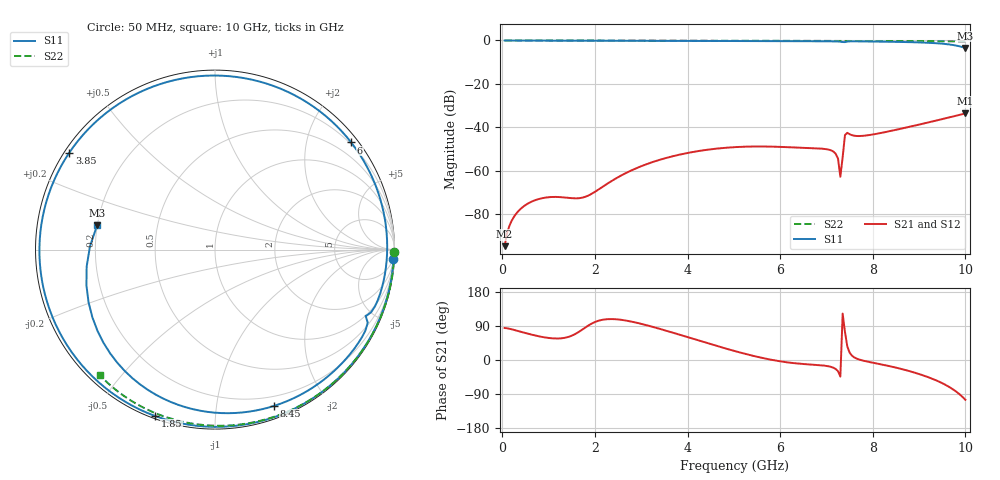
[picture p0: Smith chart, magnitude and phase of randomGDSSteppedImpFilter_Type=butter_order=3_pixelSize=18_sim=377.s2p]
! freq	dB(S11)	phase(S11)	dB(S12)	phase(S12)
!  dB(S21)	phase(S21)	dB(S22)	phase(S22)
!S-par simulation data
#  GHz  S  DB  R 50
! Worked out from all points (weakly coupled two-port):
!   200 points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, 50 MHz to 10 GHz, reference 50 ohm
!   highest |S21| = -33.58 dB at 10 GHz (marker M1); lowest = -94.6 dB at 50 MHz (marker M2)
!   lowest |S11| = -3.5 dB at 10 GHz (marker M3), VSWR 5.07, Z = 9.96 + j4.93 ohm
!   |S11| at or under -10 dB: nowhere
!   |S22| runs from -0.4 to 0.0 dB; largest |S21 - S12| = 0
!   S11 on the Smith chart (normalised r, x): 50 MHz: 3, -36; 1.85 GHz: 0.01, -0.70; 3.85 GHz: 0.01, +0.30; 6 GHz: 0.16, +2.88; 8.45 GHz: 0.11, -1.44; 10 GHz: 0.20, +0.10
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0.05  -0.04 -3.2  -94.61 84.4  -94.61 84.4  -0.00 -0.8
0.95  -0.07 -58.3  -72.21 59.0  -72.21 59.0  -0.02 -14.5
1.75  -0.12 -104.3  -72.18 82.1  -72.18 82.1  -0.03 -26.4
1.85  -0.13 -109.8  -71.40 90.3  -71.40 90.3  -0.04 -27.9
2.65  -0.17 -152.3  -61.18 104.5  -61.18 104.5  -0.05 -39.6
3.4  -0.20 169.3  -54.89 82.2  -54.89 82.2  -0.07 -50.3
3.85  -0.22 146.4  -52.41 65.9  -52.41 65.9  -0.08 -56.6
4.45  -0.25 115.9  -50.20 43.7  -50.20 43.7  -0.09 -64.8
5.05  -0.27 85.4  -49.03 22.5  -49.03 22.5  -0.11 -72.8
6  -0.31 38.2  -48.95 -3.5  -48.95 -3.5  -0.15 -85.1
6.7  -0.35 5.3  -49.54 -12.2  -49.54 -12.2  -0.18 -93.8
7.2  -0.45 -17.2  -52.13 -23.8  -52.13 -23.8  -0.21 -99.9
7.25  -0.48 -19.5  -54.38 -29.6  -54.38 -29.6  -0.21 -100.5
7.3  -0.56 -21.8  -62.69 -43.8  -62.69 -43.8  -0.22 -101.1
7.4  -0.76 -23.7  -43.50 73.8  -43.50 73.8  -0.23 -102.3
7.45  -0.51 -25.6  -42.48 35.7  -42.48 35.7  -0.23 -102.9
8.35  -0.59 -65.0  -41.79 -15.9  -41.79 -15.9  -0.29 -113.5
8.45  -0.62 -69.4  -41.33 -18.7  -41.33 -18.7  -0.30 -114.7
9  -0.90 -95.2  -38.70 -37.0  -38.70 -37.0  -0.35 -121.0
9.4  -1.32 -119.1  -36.68 -55.4  -36.68 -55.4  -0.38 -125.6
9.7  -1.98 -145.3  -35.08 -74.9  -35.08 -74.9  -0.42 -129.0
10  -3.47 168.3  -33.58 -105.0  -33.58 -105.0  -0.45 -132.4
